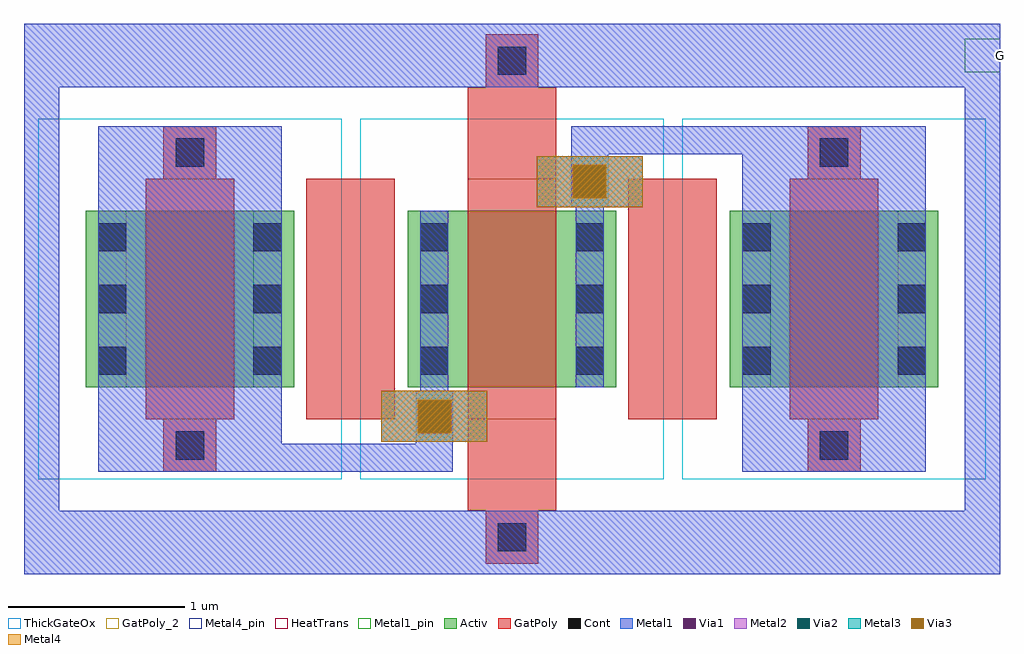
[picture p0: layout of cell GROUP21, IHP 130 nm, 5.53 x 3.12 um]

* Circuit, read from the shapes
.subckt GROUP21 G
XM1 nmosHV_priv25_1/D nmosHV_priv25_1/D nmosHV_priv25_1/D VSUBS sg13_hv_nmos w=1u l=0.5u
XM2 nmosHV_priv25_1/S G nmosHV_priv25_1/D VSUBS sg13_hv_nmos w=1u l=0.5u
XM3 nmosHV_priv25_1/S nmosHV_priv25_1/S nmosHV_priv25_1/S VSUBS sg13_hv_nmos w=1u l=0.5u
.ends

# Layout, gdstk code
import gdstk
lib = gdstk.Library(unit=1e-6, precision=1e-09)
def R(c, l, rs):  # rectangles x0, y0, x1, y1
    for r in rs: c.add(gdstk.rectangle(r[:2], r[2:], *l))
def A(c, l, x, y, w, h, nx, ny, dx, dy):  # array of equal rectangles
    R(c, l, [(x+i*dx, y+j*dy, x+i*dx+w, y+j*dy+h) for i in range(nx) for j in range(ny)])
Activ = (1, 0)
GatPoly = (5, 0)
GatPoly_2 = (5, 2)
Cont = (6, 0)
Metal1 = (8, 0)
Metal1_pin = (8, 2)
Metal2 = (10, 0)
Via1 = (19, 0)
Via2 = (29, 0)
Metal3 = (30, 0)
ThickGateOx = (44, 0)
Via3 = (49, 0)
Metal4 = (50, 0)
Metal4_pin = (50, 2)
HeatTrans = (51, 0)

nmoshv_priv26 = lib.new_cell('nmosHV_priv26')
R(nmoshv_priv26, Activ, [(0,0,0.3,0.3), (0,0,1.18,1), (0.88,0,1.18,0.3)])
R(nmoshv_priv26, GatPoly, [(0.44,-0.48,0.74,-0.18), (0.34,-0.18,0.84,1.18), (0.44,1.18,0.74,1.48)])
R(nmoshv_priv26, GatPoly_2, [(0.34,-0.18,0.84,1.18)])
A(nmoshv_priv26, Cont, 0.07, 0.07, 0.16, 0.16, 1, 3, 0, 0.35)
A(nmoshv_priv26, Cont, 0.95, 0.07, 0.16, 0.16, 1, 3, 0, 0.35)
R(nmoshv_priv26, Cont, [(0.51,-0.41,0.67,-0.25), (0.51,1.25,0.67,1.41)])
R(nmoshv_priv26, Metal1, [(0.07,-0.48,1.11,1.48), (0.07,0,0.23,1), (0.95,0,1.11,1)])
R(nmoshv_priv26, Metal1_pin, [(0.07,0,0.23,1), (0.95,0,1.11,1)])
R(nmoshv_priv26, ThickGateOx, [(-0.27,-0.52,1.45,1.52)])
R(nmoshv_priv26, HeatTrans, [(0.34,-0.18,0.84,1.18)])
nmoshv_priv26.add(gdstk.Label('nmosHV', (0.59,0.5), layer=63, texttype=0))
nmoshv_priv26.add(gdstk.Label('nmosHV', (0.59,0.5), layer=51, texttype=0))

nmoshv_priv25 = lib.new_cell('nmosHV_priv25')
R(nmoshv_priv25, Activ, [(0,0,0.3,0.3), (0,0,1.18,1), (0.88,0,1.18,0.3)])
R(nmoshv_priv25, GatPoly, [(0.44,-1,0.74,-0.7), (0.34,-0.7,0.84,-0.18), (0.34,-0.18,0.84,1.18), (0.34,1.18,0.84,1.7), (0.44,1.7,0.74,2)])
R(nmoshv_priv25, GatPoly_2, [(0.34,-0.18,0.84,1.18)])
A(nmoshv_priv25, Cont, 0.07, 0.07, 0.16, 0.16, 1, 3, 0, 0.35)
A(nmoshv_priv25, Cont, 0.95, 0.07, 0.16, 0.16, 1, 3, 0, 0.35)
R(nmoshv_priv25, Cont, [(0.51,-0.93,0.67,-0.77), (0.51,1.77,0.67,1.93)])
R(nmoshv_priv25, Metal1, [(0.455,-1.06,0.725,-0.7), (0.045,-0.31,0.255,-0.02), (0.07,-0.035,0.23,0.015), (0.07,0,0.23,1), (0.95,0,1.11,1), (0.95,0.985,1.11,1.035), (0.925,1.02,1.135,1.31), (0.455,1.7,0.725,2.06)])
R(nmoshv_priv25, Metal1_pin, [(0.07,0,0.23,1), (0.95,0,1.11,1)])
R(nmoshv_priv25, Metal2, [(-0.15,-0.31,0.45,-0.02), (0.05,-0.31,0.25,-0.02), (0.73,1.02,1.33,1.31), (0.93,1.02,1.13,1.31)])
R(nmoshv_priv25, Via1, [(0.055,-0.26,0.245,-0.07), (0.935,1.07,1.125,1.26)])
R(nmoshv_priv25, Via2, [(0.055,-0.26,0.245,-0.07), (0.935,1.07,1.125,1.26)])
R(nmoshv_priv25, Metal3, [(-0.15,-0.31,0.45,-0.02), (0.05,-0.31,0.25,-0.02), (0.73,1.02,1.33,1.31), (0.93,1.02,1.13,1.31)])
R(nmoshv_priv25, ThickGateOx, [(-0.27,-0.52,1.45,1.52)])
R(nmoshv_priv25, Via3, [(0.055,-0.26,0.245,-0.07), (0.935,1.07,1.125,1.26)])
R(nmoshv_priv25, Metal4, [(-0.15,-0.31,0.45,-0.02), (0.05,-0.31,0.25,-0.02), (0.73,1.02,1.33,1.31), (0.93,1.02,1.13,1.31)])
R(nmoshv_priv25, Metal4_pin, [(0.055,-0.26,0.245,-0.07), (0.935,1.07,1.125,1.26)])
R(nmoshv_priv25, HeatTrans, [(0.34,-0.18,0.84,1.18)])
nmoshv_priv25.add(gdstk.Label('nmosHV', (0.59,0.5), layer=63, texttype=0))
nmoshv_priv25.add(gdstk.Label('nmosHV', (0.59,0.5), layer=51, texttype=0))
nmoshv_priv25.add(gdstk.Label('S', (1.03,1.165), layer=50, texttype=0))
nmoshv_priv25.add(gdstk.Label('D', (0.15,-0.165), layer=50, texttype=0))

nmoshv_priv27 = lib.new_cell('nmosHV_priv27')
R(nmoshv_priv27, Activ, [(0,0,0.3,0.3), (0,0,1.18,1), (0.88,0,1.18,0.3)])
R(nmoshv_priv27, GatPoly, [(0.44,-0.48,0.74,-0.18), (0.34,-0.18,0.84,1.18), (0.44,1.18,0.74,1.48)])
R(nmoshv_priv27, GatPoly_2, [(0.34,-0.18,0.84,1.18)])
A(nmoshv_priv27, Cont, 0.07, 0.07, 0.16, 0.16, 1, 3, 0, 0.35)
A(nmoshv_priv27, Cont, 0.95, 0.07, 0.16, 0.16, 1, 3, 0, 0.35)
R(nmoshv_priv27, Cont, [(0.51,-0.41,0.67,-0.25), (0.51,1.25,0.67,1.41)])
R(nmoshv_priv27, Metal1, [(0.07,-0.48,1.11,1.48), (0.07,0,0.23,1), (0.95,0,1.11,1)])
R(nmoshv_priv27, Metal1_pin, [(0.07,0,0.23,1), (0.95,0,1.11,1)])
R(nmoshv_priv27, ThickGateOx, [(-0.27,-0.52,1.45,1.52)])
R(nmoshv_priv27, HeatTrans, [(0.34,-0.18,0.84,1.18)])
nmoshv_priv27.add(gdstk.Label('nmosHV', (0.59,0.5), layer=63, texttype=0))
nmoshv_priv27.add(gdstk.Label('nmosHV', (0.59,0.5), layer=51, texttype=0))

group21 = lib.new_cell('GROUP21')
R(group21, GatPoly, [(299.965,332.06,300.465,333.42), (301.79,332.06,302.29,333.42)])
R(group21, Metal1, [(298.365,331.18,303.895,331.54), (298.365,331.18,298.565,334.3), (303.695,331.18,303.895,334.3), (299.825,331.76,300.795,331.92), (300.585,331.92,300.795,332.22), (301.465,333.26,301.675,333.56), (301.465,333.56,302.435,333.72), (298.365,333.94,303.895,334.3)])
R(group21, Metal1_pin, [(303.695,334.025,303.895,334.215)])
group21.add(gdstk.Reference(nmoshv_priv26, (302.365,332.24)))
group21.add(gdstk.Reference(nmoshv_priv25, (300.54,332.24)))
group21.add(gdstk.Reference(nmoshv_priv27, (298.715,332.24)))
group21.add(gdstk.Label('G', (303.895,334.12), layer=8, texttype=0))
group21.add(gdstk.Label('XM30', (300.53,334.6), layer=1000, texttype=0))
group21.add(gdstk.Label('XM12', (301.13,334.6), layer=1000, texttype=0))
group21.add(gdstk.Label('XM29', (301.73,334.6), layer=1000, texttype=0))

lib.write_gds('GROUP21.gds')
